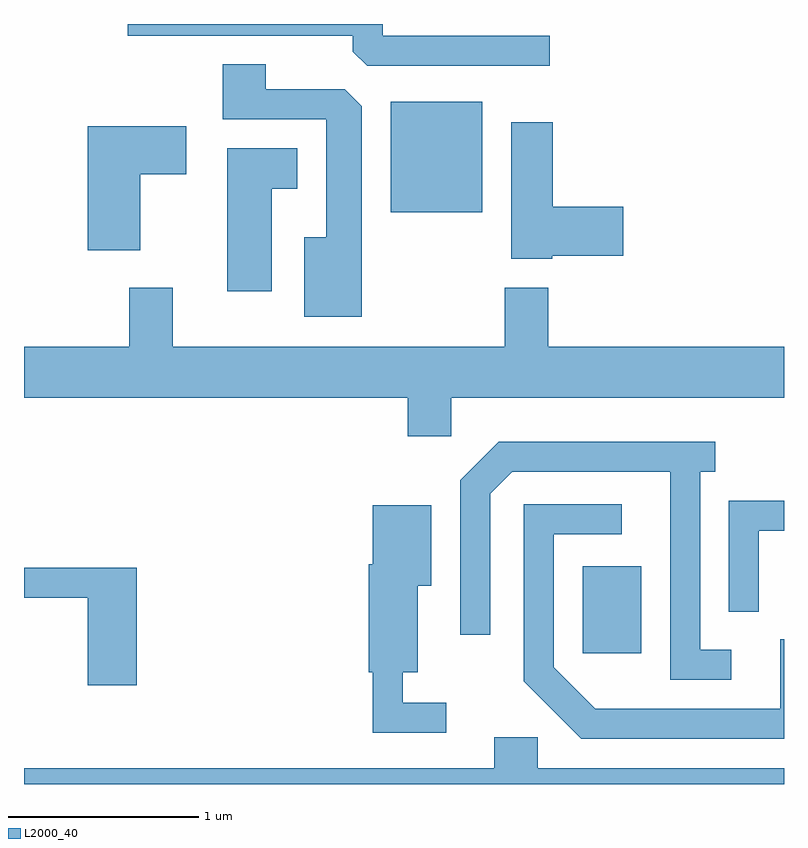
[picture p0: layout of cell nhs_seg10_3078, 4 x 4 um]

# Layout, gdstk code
import gdstk
lib = gdstk.Library(unit=1e-6, precision=1e-09)
def R(c, l, rs):  # rectangles x0, y0, x1, y1
    for r in rs: c.add(gdstk.rectangle(r[:2], r[2:], *l))
def P(c, l, *ps):  # polygons
    for p in ps: c.add(gdstk.Polygon(p, *l))
L2000_40 = (2000, 40)

nhs_seg10_3078 = lib.new_cell('nhs_seg10_3078')
R(nhs_seg10_3078, L2000_40, [(278.551,2139.211,278.859,2139.669), (277.541,2141.531,278.024,2142.114)])
P(nhs_seg10_3078, L2000_40, [(278.378,2142.459),(277.499,2142.459),(277.499,2142.522),(276.158,2142.522),(276.158,2142.461),(277.341,2142.461),(277.341,2142.377),(277.417,2142.301),(278.378,2142.301)],
  [(277.389,2142.089),(277.299,2142.179),(276.884,2142.179),(276.884,2142.309),(276.656,2142.309),(276.656,2142.021),(277.201,2142.021),(277.201,2141.399),(277.086,2141.399),(277.086,2140.981),(277.389,2140.981)],
  [(278.39,2141.301),(278.764,2141.301),(278.764,2141.559),(278.394,2141.559),(278.394,2142.004),(278.176,2142.004),(278.176,2141.286),(278.39,2141.286)],
  [(276.224,2141.731),(276.464,2141.731),(276.464,2141.984),(275.946,2141.984),(275.946,2141.331),(276.224,2141.331)],
  [(276.914,2141.656),(277.049,2141.656),(277.049,2141.869),(276.681,2141.869),(276.681,2141.116),(276.914,2141.116)],
  [(277.859,2140.556),(279.611,2140.556),(279.611,2140.824),(278.369,2140.824),(278.369,2141.134),(278.141,2141.134),(278.141,2140.824),(276.394,2140.824),(276.394,2141.134),(276.166,2141.134),(276.166,2140.824),(275.611,2140.824),(275.611,2140.556),(277.631,2140.556),(277.631,2140.351),(277.859,2140.351)],
  [(279.333,2139.229),(279.169,2139.229),(279.169,2140.166),(279.248,2140.166),(279.248,2140.324),(278.109,2140.324),(277.906,2140.122),(277.906,2139.308),(278.064,2139.308),(278.064,2140.049),(278.182,2140.166),(279.011,2140.166),(279.011,2139.071),(279.333,2139.071)],
  [(279.479,2139.856),(279.611,2139.856),(279.611,2140.014),(279.321,2140.014),(279.321,2139.428),(279.479,2139.428)],
  [(279.611,2139.284),(279.591,2139.284),(279.591,2138.919),(278.617,2138.919),(278.399,2139.137),(278.399,2139.836),(278.758,2139.836),(278.758,2139.994),(278.241,2139.994),(278.241,2139.064),(278.544,2138.761),(279.611,2138.761)],
  [(277.833,2138.949),(277.604,2138.949),(277.604,2139.111),(277.684,2139.111),(277.684,2139.566),(277.754,2139.566),(277.754,2139.989),(277.446,2139.989),(277.446,2139.679),(277.426,2139.679),(277.426,2139.111),(277.446,2139.111),(277.446,2138.791),(277.833,2138.791)],
  [(276.204,2139.659),(275.611,2139.659),(275.611,2139.501),(275.946,2139.501),(275.946,2139.041),(276.204,2139.041)],
  [(279.611,2138.604),(278.314,2138.604),(278.314,2138.769),(278.086,2138.769),(278.086,2138.604),(275.611,2138.604),(275.611,2138.522),(279.611,2138.522)])

lib.write_gds('nhs_seg10_3078.gds')
